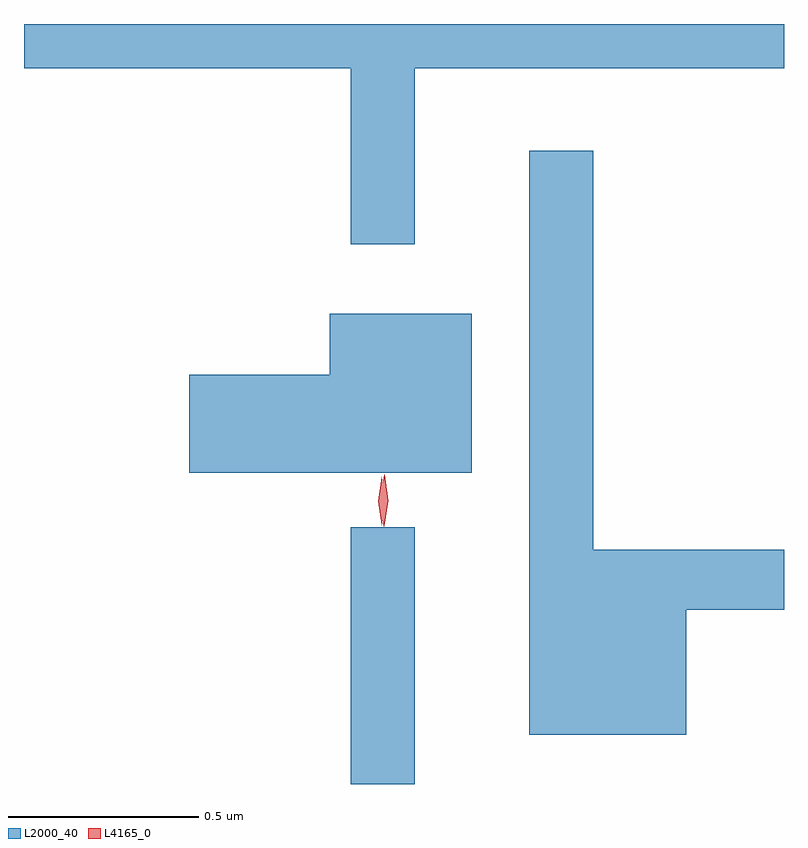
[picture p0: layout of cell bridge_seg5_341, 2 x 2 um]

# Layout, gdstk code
import gdstk
lib = gdstk.Library(unit=1e-6, precision=1e-09)
def R(c, l, rs):  # rectangles x0, y0, x1, y1
    for r in rs: c.add(gdstk.rectangle(r[:2], r[2:], *l))
def P(c, l, *ps):  # polygons
    for p in ps: c.add(gdstk.Polygon(p, *l))
L2000_40 = (2000, 40)
L4165_0 = (4165, 0)

bridge_seg5_341 = lib.new_cell('bridge_seg5_341')
R(bridge_seg5_341, L2000_40, [(671.931,1519.292,672.099,1519.968)])
P(bridge_seg5_341, L2000_40, [(672.099,1521.176),(673.071,1521.176),(673.071,1521.292),(671.071,1521.292),(671.071,1521.176),(671.931,1521.176),(671.931,1520.713),(672.099,1520.713)],
  [(672.814,1519.751),(673.071,1519.751),(673.071,1519.909),(672.569,1519.909),(672.569,1520.958),(672.401,1520.958),(672.401,1519.421),(672.814,1519.421)],
  [(672.249,1520.529),(671.876,1520.529),(671.876,1520.369),(671.506,1520.369),(671.506,1520.111),(672.249,1520.111)])
P(bridge_seg5_341, L4165_0, [(672.013,1519.973),(672.012,1519.974),(672.003,1520.036),(672.012,1520.099),(672.013,1520.1),(672.013,1520.099),(672.023,1520.036),(672.013,1519.974)],
  [(672.018,1519.97),(672.018,1519.97),(672.009,1520.038),(672.019,1520.106),(672.02,1520.106),(672.02,1520.106),(672.029,1520.038),(672.019,1519.97)])

lib.write_gds('bridge_seg5_341.gds')
